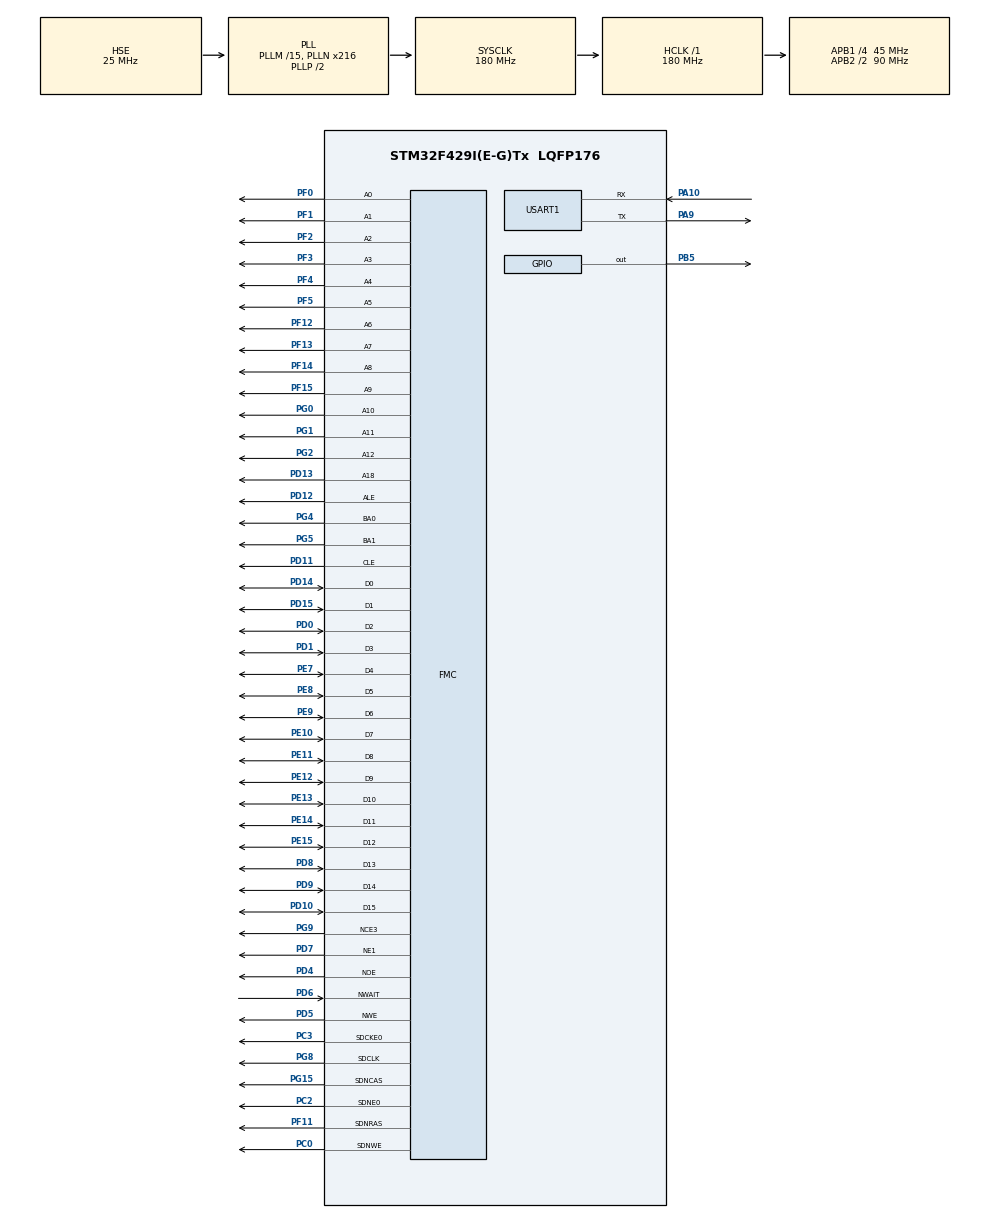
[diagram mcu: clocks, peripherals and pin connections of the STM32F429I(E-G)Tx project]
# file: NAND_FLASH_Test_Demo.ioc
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FMC.AttributeSpaceHiZSetupTime1=3
FMC.AttributeSpaceHoldSetupTime1=2
FMC.AttributeSpaceSetupTime1=1
FMC.AttributeSpaceWaitSetupTime1=3
FMC.BusTurnAroundDuration1=0
FMC.CASLatency1=FMC_SDRAM_CAS_LATENCY_3
FMC.ColumnBitsNumber1=FMC_SDRAM_COLUMN_BITS_NUM_9
FMC.CommonSpaceHiZSetupTime1=3
FMC.CommonSpaceHoldSetupTime1=2
FMC.CommonSpaceSetupTime1=1
FMC.CommonSpaceWaitSetupTime1=3
FMC.DataSetupTime1=70
FMC.ECCPageSize1=FMC_NAND_ECC_PAGE_SIZE_2048BYTE
FMC.EccComputation1=FMC_NAND_ECC_ENABLE
FMC.ExitSelfRefreshDelay1=8
FMC.ExtendedDataSetupTime1=15
FMC.ExtendedMode1=FMC_EXTENDED_MODE_ENABLE
FMC.LoadToActiveDelay1=2
FMC.NandBlockNbr1=2048
FMC.NandBlockSize1=64
FMC.NandPageSize1=2048
FMC.NandPlaneNbr1=2
FMC.NandPlaneSize1=4096
FMC.NandSpareAreaSize1=64
FMC.RCDDelay1=2
FMC.RPDelay1=2
FMC.ReadBurst1=FMC_SDRAM_RBURST_ENABLE
FMC.ReadPipeDelay1=FMC_SDRAM_RPIPE_DELAY_1
FMC.RowCycleDelay1=6
FMC.SDClockPeriod1=FMC_SDRAM_CLOCK_PERIOD_2
FMC.SelfRefreshTime1=6
FMC.TARSetupTime1=0
FMC.WriteRecoveryTime1=4
Mcu.Family=STM32F4
Mcu.Name=STM32F429I(E-G)Tx
Mcu.Package=LQFP176
NVIC.PriorityGroup=NVIC_PRIORITYGROUP_4
PA10.Mode=Asynchronous
PA10.Signal=USART1_RX
PA13.Mode=Serial_Wire
PA13.Signal=SYS_JTMS-SWDIO
PA14.Mode=Serial_Wire
PA14.Signal=SYS_JTCK-SWCLK
PA9.Mode=Asynchronous
PA9.Signal=USART1_TX
PB5.Signal=GPIO_Output
PC0.Signal=FMC_SDNWE
PC2.Mode=SdramChipSelect1_1
PC2.Signal=FMC_SDNE0
PC3.Mode=SdramChipSelect1_1
PC3.Signal=FMC_SDCKE0
PD0.Signal=FMC_D2_DA2
PD1.Signal=FMC_D3_DA3
PD10.Signal=FMC_D15_DA15
PD11.Signal=FMC_A16_CLE
PD12.Signal=FMC_A17_ALE
PD13.Signal=FMC_A18
PD14.Signal=FMC_D0_DA0
PD15.Signal=FMC_D1_DA1
PD4.Signal=FMC_NOE
PD5.Signal=FMC_NWE
PD6.Signal=FMC_NWAIT
PD7.Mode=NorPsramChipSelect1_1
PD7.Signal=FMC_NE1
PD8.Signal=FMC_D13_DA13
PD9.Signal=FMC_D14_DA14
PE10.Signal=FMC_D7_DA7
PE11.Signal=FMC_D8_DA8
PE12.Signal=FMC_D9_DA9
PE13.Signal=FMC_D10_DA10
PE14.Signal=FMC_D11_DA11
PE15.Signal=FMC_D12_DA12
PE7.Signal=FMC_D4_DA4
PE8.Signal=FMC_D5_DA5
PE9.Signal=FMC_D6_DA6
PF0.Signal=FMC_A0
PF1.Signal=FMC_A1
PF11.Signal=FMC_SDNRAS
PF12.Signal=FMC_A6
PF13.Signal=FMC_A7
PF14.Signal=FMC_A8
PF15.Signal=FMC_A9
PF2.Signal=FMC_A2
PF3.Signal=FMC_A3
PF4.Signal=FMC_A4
PF5.Signal=FMC_A5
PG0.Signal=FMC_A10
PG1.Signal=FMC_A11
PG15.Signal=FMC_SDNCAS
PG2.Signal=FMC_A12
PG4.Signal=FMC_A14_BA0
PG5.Signal=FMC_A15_BA1
PG8.Signal=FMC_SDCLK
PG9.Mode=NandChipSelect3_1
PG9.Signal=FMC_NCE3
PH0/OSC_IN.Mode=HSE-External-Oscillator
PH0/OSC_IN.Signal=RCC_OSC_IN
PH1/OSC_OUT.Mode=HSE-External-Oscillator
PH1/OSC_OUT.Signal=RCC_OSC_OUT
ProjectManager.HeapSize=0x200
ProjectManager.StackSize=0x400
ProjectManager.TargetToolchain=Makefile
RCC.48MHZClocksFreq_Value=90000000
RCC.AHBFreq_Value=180000000
RCC.APB1CLKDivider=RCC_HCLK_DIV4
RCC.APB1Freq_Value=45000000
RCC.APB1TimFreq_Value=90000000
RCC.APB2CLKDivider=RCC_HCLK_DIV2
RCC.APB2Freq_Value=90000000
RCC.APB2TimFreq_Value=180000000
RCC.CortexFreq_Value=180000000
RCC.HCLKFreq_Value=180000000
RCC.HSE_VALUE=25000000
RCC.HSI_VALUE=16000000
RCC.LSE_VALUE=32768
RCC.PLLM=15
RCC.PLLN=216
RCC.PLLSourceVirtual=RCC_PLLSOURCE_HSE
RCC.SYSCLKFreq_VALUE=180000000
RCC.SYSCLKSource=RCC_SYSCLKSOURCE_PLLCLK
RCC.VCOOutputFreq_Value=360000000
SH.FMC_A0.0=FMC_A0,13b-sda1
SH.FMC_A1.0=FMC_A1,13b-sda1
SH.FMC_A10.0=FMC_A10,13b-sda1
SH.FMC_A11.0=FMC_A11,13b-sda1
SH.FMC_A12.0=FMC_A12,13b-sda1
SH.FMC_A14_BA0.0=FMC_BA0,FourSdramBanks1
SH.FMC_A15_BA1.0=FMC_BA1,FourSdramBanks1
SH.FMC_A16_CLE.0=FMC_CLE,8b-dmux1
SH.FMC_A17_ALE.0=FMC_ALE,8b-dmux1
SH.FMC_A18.0=FMC_A18,A18_1
SH.FMC_A2.0=FMC_A2,13b-sda1
SH.FMC_A3.0=FMC_A3,13b-sda1
SH.FMC_A4.0=FMC_A4,13b-sda1
SH.FMC_A5.0=FMC_A5,13b-sda1
SH.FMC_A6.0=FMC_A6,13b-sda1
SH.FMC_A7.0=FMC_A7,13b-sda1
SH.FMC_A8.0=FMC_A8,13b-sda1
SH.FMC_A9.0=FMC_A9,13b-sda1
SH.FMC_D0_DA0.0=FMC_D0,8b-dmux1
SH.FMC_D0_DA0.1=FMC_D0,sd-16b-d1
SH.FMC_D0_DA0.2=FMC_D0,16b-d1
SH.FMC_D10_DA10.0=FMC_D10,sd-16b-d1
SH.FMC_D10_DA10.1=FMC_D10,16b-d1
SH.FMC_D11_DA11.0=FMC_D11,sd-16b-d1
SH.FMC_D11_DA11.1=FMC_D11,16b-d1
SH.FMC_D12_DA12.0=FMC_D12,sd-16b-d1
SH.FMC_D12_DA12.1=FMC_D12,16b-d1
SH.FMC_D13_DA13.0=FMC_D13,sd-16b-d1
SH.FMC_D13_DA13.1=FMC_D13,16b-d1
SH.FMC_D14_DA14.0=FMC_D14,sd-16b-d1
SH.FMC_D14_DA14.1=FMC_D14,16b-d1
SH.FMC_D15_DA15.0=FMC_D15,sd-16b-d1
SH.FMC_D15_DA15.1=FMC_D15,16b-d1
SH.FMC_D1_DA1.0=FMC_D1,8b-dmux1
SH.FMC_D1_DA1.1=FMC_D1,sd-16b-d1
SH.FMC_D1_DA1.2=FMC_D1,16b-d1
SH.FMC_D2_DA2.0=FMC_D2,8b-dmux1
SH.FMC_D2_DA2.1=FMC_D2,sd-16b-d1
SH.FMC_D2_DA2.2=FMC_D2,16b-d1
SH.FMC_D3_DA3.0=FMC_D3,8b-dmux1
SH.FMC_D3_DA3.1=FMC_D3,sd-16b-d1
SH.FMC_D3_DA3.2=FMC_D3,16b-d1
SH.FMC_D4_DA4.0=FMC_D4,8b-dmux1
SH.FMC_D4_DA4.1=FMC_D4,sd-16b-d1
SH.FMC_D4_DA4.2=FMC_D4,16b-d1
SH.FMC_D5_DA5.0=FMC_D5,8b-dmux1
SH.FMC_D5_DA5.1=FMC_D5,sd-16b-d1
SH.FMC_D5_DA5.2=FMC_D5,16b-d1
SH.FMC_D6_DA6.0=FMC_D6,8b-dmux1
SH.FMC_D6_DA6.1=FMC_D6,sd-16b-d1
SH.FMC_D6_DA6.2=FMC_D6,16b-d1
SH.FMC_D7_DA7.0=FMC_D7,8b-dmux1
SH.FMC_D7_DA7.1=FMC_D7,sd-16b-d1
SH.FMC_D7_DA7.2=FMC_D7,16b-d1
SH.FMC_D8_DA8.0=FMC_D8,sd-16b-d1
SH.FMC_D8_DA8.1=FMC_D8,16b-d1
SH.FMC_D9_DA9.0=FMC_D9,sd-16b-d1
SH.FMC_D9_DA9.1=FMC_D9,16b-d1
SH.FMC_NOE.0=FMC_NOE,8b-dmux1
SH.FMC_NOE.1=FMC_NOE,Lcd1
SH.FMC_NWAIT.0=FMC_NWAIT,Wait1
SH.FMC_NWE.0=FMC_NWE,8b-dmux1
SH.FMC_NWE.1=FMC_NWE,Lcd1
SH.FMC_SDCLK.0=FMC_SDCLK,13b-sda1
SH.FMC_SDNCAS.0=FMC_SDNCAS,13b-sda1
SH.FMC_SDNRAS.0=FMC_SDNRAS,13b-sda1
SH.FMC_SDNWE.0=FMC_SDNWE,13b-sda1
TIM2.Prescaler=90-1
USART1.VirtualMode=VM_ASYNC
VP_TIM2_VS_ClockSourceINT.Mode=Internal
board=custom

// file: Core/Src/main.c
/* USER CODE BEGIN Header */
/**
 ******************************************************************************
 * @file           : main.c
 * @brief          : Main program body
 ******************************************************************************
 * @attention
 *
 * Copyright (c) 2024 STMicroelectronics.
 * All rights reserved.
 *
 * This software is licensed under terms that can be found in the LICENSE file
 * in the root directory of this software component.
 * If no LICENSE file comes with this software, it is provided AS-IS.
 *
 ******************************************************************************
 */
/* USER CODE END Header */
#include "main.h"
#include "tim.h"
#include "usart.h"
#include "gpio.h"
#include "fmc.h"

/* USER CODE BEGIN Includes */
#include "nandflash_user.h"
#include "nandflash.h"
#include "nandftl.h"
#include "malloc.h"
#include "user_printf.h"
#include "sdram_user.h"
#include "tftlcd.h"
#include "string.h"
/* USER CODE END Includes */

/* USER CODE BEGIN PTD */
#define NAND_PAGE_SIZE 2048
/* USER CODE END PTD */

void SystemClock_Config(void);

int main(void)
{

    /* USER CODE BEGIN 1 */
    uint32_t i = 0;
    NAND_IDTypeDef id;
    NAND_AddressTypeDef temp;
    temp.Plane = 0;
    temp.Block = 0;
    temp.Page  = 0;
    uint8_t buf[NAND_PAGE_SIZE];
    /* USER CODE END 1 */

    /* MCU Configuration--------------------------------------------------------*/

    /* Reset of all peripherals, Initializes the Flash interface and the Systick. */
    HAL_Init();

    /* Configure the system clock */
    SystemClock_Config();

    /* Initialize all configured peripherals */
    MX_GPIO_Init();
    MX_FMC_Init();
    MX_TIM2_Init();
    MX_USART1_UART_Init();
    /* USER CODE BEGIN 2 */
    SDRAM_Init();
    LCD_Init();
    RetargetInit(&huart1);
    HAL_Delay(100);
    printf("sudaroot\r\n");

    // 1、复位NAND芯片，读取芯片ID
    HAL_NAND_Reset(&hnand1);
    HAL_NAND_Read_ID(&hnand1, &id);
    printf("1.HAL_id = 0x%X\r\n", *((unsigned int *)&id));

    // 2、擦除第0页所在的第0块的数据，并打印HAL_NAND_Erase_Block函数执行结果
    printf("2.HAL_NAND_Erase_Block = %d\r\n", HAL_NAND_Erase_Block(&hnand1, &temp));

    // 3、读取在芯片第0页的数据，并打印HAL_NAND_Read_Page_8b函数执行结果
    memset(buf, 0, NAND_PAGE_SIZE);
    printf("3.HAL_NAND_Read_Page_8b = %d\r\n", HAL_NAND_Read_Page_8b(&hnand1, &temp, buf, 1));
    for (i = 0; i < NAND_PAGE_SIZE; i++) {
        if ((i % 5) == 0) printf("\r\n");
        printf("buf[%04d] = 0x%02X ", i, buf[i]);
    }
    printf("\r\n");

    // 4、初始化数据，把新的数据写入芯片第0页，并打印HAL_NAND_Write_Page_8b函数执行结果
    for (i = 0; i < NAND_PAGE_SIZE; i++) {
        buf[i] = i & 0x00FF;
    }
    printf("4.HAL_NAND_Write_Page_8b = %d\r\n", HAL_NAND_Write_Page_8b(&hnand1, &temp, buf, 1));

    // 5、重新读取芯片第0页数据，并打印HAL_NAND_Read_Page_8b函数执行结果
    memset(buf, 0, NAND_PAGE_SIZE);
    printf("5.HAL_NAND_Read_Page_8b = %d\r\n", HAL_NAND_Read_Page_8b(&hnand1, &temp, buf, 1));
    for (i = 0; i < NAND_PAGE_SIZE; i++) {
        if ((i % 5) == 0) printf("\r\n");
        printf("buf[%04d] = 0x%02X ", i, buf[i]);
    }
    printf("\r\n");

    /* USER CODE END 2 */

    /* Infinite loop */
    while (1) {

    }
}

void SystemClock_Config(void)
{
    RCC_OscInitTypeDef RCC_OscInitStruct = {0};
    RCC_ClkInitTypeDef RCC_ClkInitStruct = {0};

    /** Configure the main internal regulator output voltage
     */
    __HAL_RCC_PWR_CLK_ENABLE();
    __HAL_PWR_VOLTAGESCALING_CONFIG(PWR_REGULATOR_VOLTAGE_SCALE1);

    /** Initializes the RCC Oscillators according to the specified parameters
     * in the RCC_OscInitTypeDef structure.
     */
    RCC_OscInitStruct.OscillatorType = RCC_OSCILLATORTYPE_HSE;
    RCC_OscInitStruct.HSEState       = RCC_HSE_ON;
    RCC_OscInitStruct.PLL.PLLState   = RCC_PLL_ON;
    RCC_OscInitStruct.PLL.PLLSource  = RCC_PLLSOURCE_HSE;
    RCC_OscInitStruct.PLL.PLLM       = 15;
    RCC_OscInitStruct.PLL.PLLN       = 216;
    RCC_OscInitStruct.PLL.PLLP       = RCC_PLLP_DIV2;
    RCC_OscInitStruct.PLL.PLLQ       = 4;
    if (HAL_RCC_OscConfig(&RCC_OscInitStruct) != HAL_OK) {
        Error_Handler();
    }

    /** Activate the Over-Drive mode
     */
    if (HAL_PWREx_EnableOverDrive() != HAL_OK) {
        Error_Handler();
    }

    /** Initializes the CPU, AHB and APB buses clocks
     */
    RCC_ClkInitStruct.ClockType      = RCC_CLOCKTYPE_HCLK | RCC_CLOCKTYPE_SYSCLK | RCC_CLOCKTYPE_PCLK1 | RCC_CLOCKTYPE_PCLK2;
    RCC_ClkInitStruct.SYSCLKSource   = RCC_SYSCLKSOURCE_PLLCLK;
    RCC_ClkInitStruct.AHBCLKDivider  = RCC_SYSCLK_DIV1;
    RCC_ClkInitStruct.APB1CLKDivider = RCC_HCLK_DIV4;
    RCC_ClkInitStruct.APB2CLKDivider = RCC_HCLK_DIV2;

    if (HAL_RCC_ClockConfig(&RCC_ClkInitStruct, FLASH_LATENCY_5) != HAL_OK) {
        Error_Handler();
    }
}

void Error_Handler(void)
{
    __disable_irq();
    while (1) {
    }
}
